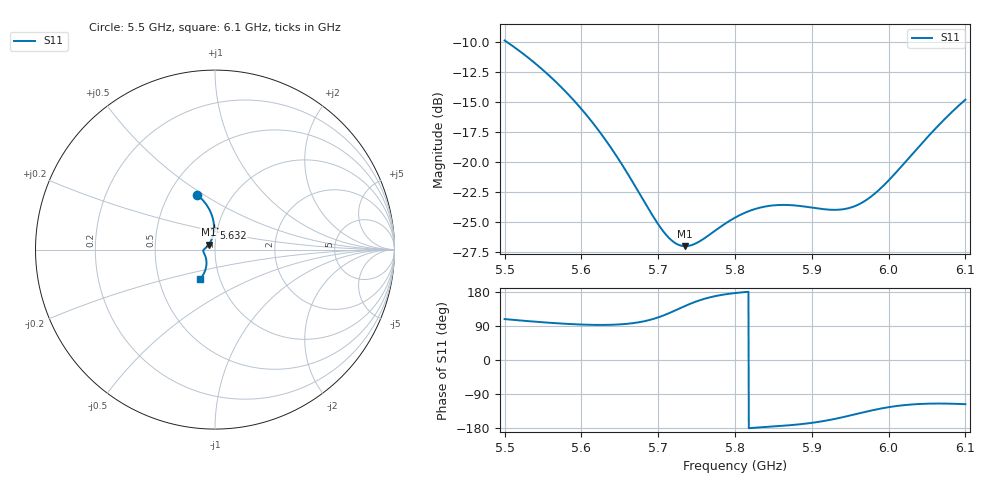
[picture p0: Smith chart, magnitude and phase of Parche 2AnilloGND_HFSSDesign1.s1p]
! Touchstone file from project Parche 2AnilloGND
! Exported from HFSS 2018.0.0
! Variables:
!  L = 8.35mm
!  S = 0.0001mm
!  W = 8.1mm
!  a = 80mm
!  a1 = 25mm
!  ancho = 1.5mm
!  b = 10.43mm
!  c = 41.75mm
!  d = 63.5mm
!  e = 0.018mm
!  gnd1 = 44.5mm
!  gnd2 = 65mm
!  h = 3.175mm
!  r1 = 0.265mm
!  r2 = 0.825mm
!  rb = 0.2mm
!  teta = 45.8706894984344deg
!  u = 1mm
!  v = 7.3mm
!  x0 = 6mm
!  y0 = 0mm
!Data is not renormalized
# GHZ S MA
! Modal data exported
! Port[1] = 1:1
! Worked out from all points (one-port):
!   1201 points, 5.5 GHz to 6.1 GHz, reference per port
!   lowest |S11| = -27.0 dB at 5.735 GHz (marker M1), VSWR 1.09
!   |S11| at or under -10 dB: 5.503 GHz to end of sweep
!   S11 on the Smith chart (normalised r, x): 5.5 GHz: 0.69, +0.47; 5.632 GHz: 0.96, +0.24; 6.1 GHz: 0.81, -0.27
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5.5  0.3203 107.9
5.5155  0.2957 105.2
5.5375  0.2609 101.4
5.575  0.2029 96.1
5.6045  0.1598 93.2
5.632  0.1228 92.6
5.65  0.1009 93.9
5.7015  0.05424 113.5
5.714  0.04837 123.5
5.725  0.0455 133.4
5.735  0.04469 142.6
5.7435  0.04515 149.8
5.753  0.04662 156.9
5.8  0.05872 176.6
5.818  0.06249 -179.9
5.836  0.065 -177.3
5.8545  0.06622 -174.8
5.875  0.06612 -171.5
5.925  0.06333 -157.5
5.938  0.06347 -152.0
5.95  0.06457 -146.4
5.966  0.06795 -138.6
5.982  0.07392 -131.3
6  0.08384 -124.5
6.025  0.1027 -118.2
6.068  0.1453 -114.9
6.0885  0.1684 -115.7
6.1  0.1818 -116.6
